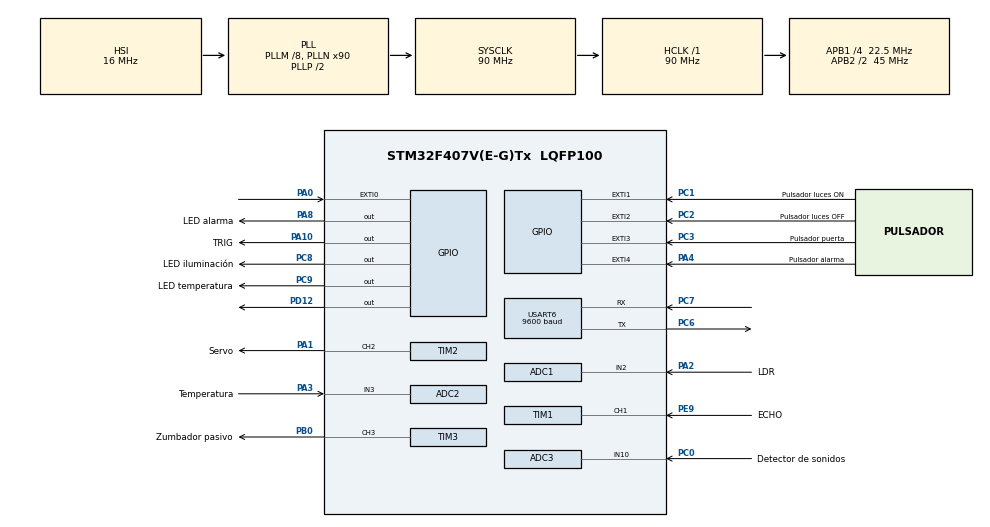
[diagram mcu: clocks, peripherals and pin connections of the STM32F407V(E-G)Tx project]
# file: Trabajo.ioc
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ADC1.Channel-0\#ChannelRegularConversion=ADC_CHANNEL_2
ADC1.NbrOfConversionFlag=1
ADC1.Rank-0\#ChannelRegularConversion=1
ADC1.Resolution=ADC_RESOLUTION_8B
ADC1.SamplingTime-0\#ChannelRegularConversion=ADC_SAMPLETIME_3CYCLES
ADC1.master=1
ADC2.Channel-0\#ChannelRegularConversion=ADC_CHANNEL_3
ADC2.NbrOfConversionFlag=1
ADC2.Rank-0\#ChannelRegularConversion=1
ADC2.Resolution=ADC_RESOLUTION_10B
ADC2.SamplingTime-0\#ChannelRegularConversion=ADC_SAMPLETIME_3CYCLES
ADC3.Channel-0\#ChannelRegularConversion=ADC_CHANNEL_10
ADC3.NbrOfConversionFlag=1
ADC3.Rank-0\#ChannelRegularConversion=1
ADC3.Resolution=ADC_RESOLUTION_10B
ADC3.SamplingTime-0\#ChannelRegularConversion=ADC_SAMPLETIME_3CYCLES
Mcu.Family=STM32F4
Mcu.Name=STM32F407V(E-G)Tx
Mcu.Package=LQFP100
NVIC.EXTI0_IRQn=true\:0\:0\:false\:false\:true\:true\:true
NVIC.EXTI1_IRQn=true\:0\:0\:false\:false\:true\:true\:true
NVIC.EXTI2_IRQn=true\:0\:0\:false\:false\:true\:true\:true
NVIC.EXTI3_IRQn=true\:0\:0\:false\:false\:true\:true\:true
NVIC.EXTI4_IRQn=true\:0\:0\:false\:false\:true\:true\:true
NVIC.PriorityGroup=NVIC_PRIORITYGROUP_4
NVIC.TIM1_CC_IRQn=true\:0\:0\:false\:false\:true\:true\:true
NVIC.TIM2_IRQn=true\:0\:0\:false\:false\:true\:true\:true
NVIC.USART6_IRQn=true\:0\:0\:false\:false\:true\:true\:true
PA0-WKUP.Signal=GPXTI0
PA1.GPIO_Label=Servo
PA1.Signal=S_TIM2_CH2
PA10.GPIO_Label=TRIG
PA10.Signal=GPIO_Output
PA2.GPIO_Label=LDR
PA2.Signal=ADCx_IN2
PA3.GPIO_Label=Temperatura
PA3.Signal=ADCx_IN3
PA4.GPIO_Label=Pulsador alarma
PA4.Signal=GPXTI4
PA8.GPIO_Label=LED alarma
PA8.Signal=GPIO_Output
PB0.GPIO_Label=Zumbador pasivo
PB0.Signal=S_TIM3_CH3
PC0.GPIO_Label=Detector de sonidos
PC0.Signal=ADCx_IN10
PC1.GPIO_Label=Pulsador luces ON
PC1.Signal=GPXTI1
PC14-OSC32_IN.Mode=LSE-External-Oscillator
PC14-OSC32_IN.Signal=RCC_OSC32_IN
PC15-OSC32_OUT.Mode=LSE-External-Oscillator
PC15-OSC32_OUT.Signal=RCC_OSC32_OUT
PC2.GPIO_Label=Pulsador luces OFF
PC2.Signal=GPXTI2
PC3.GPIO_Label=Pulsador puerta
PC3.Signal=GPXTI3
PC6.Mode=Asynchronous
PC6.Signal=USART6_TX
PC7.Mode=Asynchronous
PC7.Signal=USART6_RX
PC8.GPIO_Label=LED iluminaci\u00F3n
PC8.Signal=GPIO_Output
PC9.GPIO_Label=LED temperatura
PC9.Signal=GPIO_Output
PD12.Signal=GPIO_Output
PE9.GPIO_Label=ECHO
PE9.Signal=S_TIM1_CH1
PH0-OSC_IN.Mode=HSE-External-Oscillator
PH0-OSC_IN.Signal=RCC_OSC_IN
PH1-OSC_OUT.Mode=HSE-External-Oscillator
PH1-OSC_OUT.Signal=RCC_OSC_OUT
ProjectManager.HeapSize=0x200
ProjectManager.StackSize=0x400
ProjectManager.TargetToolchain=STM32CubeIDE
RCC.48MHZClocksFreq_Value=25714285.714285713
RCC.AHBFreq_Value=90000000
RCC.APB1CLKDivider=RCC_HCLK_DIV4
RCC.APB1Freq_Value=22500000
RCC.APB1TimFreq_Value=45000000
RCC.APB2CLKDivider=RCC_HCLK_DIV2
RCC.APB2Freq_Value=45000000
RCC.APB2TimFreq_Value=90000000
RCC.CortexFreq_Value=90000000
RCC.HCLKFreq_Value=90000000
RCC.HSE_VALUE=8000000
RCC.HSI_VALUE=16000000
RCC.PLLM=8
RCC.PLLN=90
RCC.PLLQ=7
RCC.SYSCLKFreq_VALUE=90000000
RCC.SYSCLKSource=RCC_SYSCLKSOURCE_PLLCLK
RCC.VCOOutputFreq_Value=180000000
SH.ADCx_IN10.0=ADC3_IN10,IN10
SH.ADCx_IN2.0=ADC1_IN2,IN2
SH.ADCx_IN3.0=ADC2_IN3,IN3
SH.S_TIM1_CH1.0=TIM1_CH1,Input_Capture1_from_TI1
SH.S_TIM2_CH2.0=TIM2_CH2,PWM Generation2 CH2
SH.S_TIM3_CH3.0=TIM3_CH3,PWM Generation3 CH3
TIM1.Channel-Input_Capture1_from_TI1=TIM_CHANNEL_1
TIM1.Period=65535-1
TIM1.Prescaler=45-1
TIM2.Channel-PWM\ Generation2\ CH2=TIM_CHANNEL_2
TIM2.Period=1000-1
TIM2.Prescaler=900-1
TIM3.Channel-PWM\ Generation3\ CH3=TIM_CHANNEL_3
TIM3.Period=255-1
TIM3.Prescaler=692-1
USART6.BaudRate=9600
USART6.VirtualMode=VM_ASYNC
VP_TIM2_VS_ClockSourceINT.Mode=Internal
VP_TIM3_VS_ClockSourceINT.Mode=Internal
board=STM32F407G-DISC1

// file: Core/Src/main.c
/* USER CODE BEGIN Header */
/**
  ******************************************************************************
  * @file           : main.c
  * @brief          : Main program body
  ******************************************************************************
  * @attention
  *
  * Copyright (c) 2021 STMicroelectronics.
  * All rights reserved.
  *
  * This software is licensed under terms that can be found in the LICENSE file
  * in the root directory of this software component.
  * If no LICENSE file comes with this software, it is provided AS-IS.
  *
  ******************************************************************************
  */
/* USER CODE END Header */
#include "main.h"

/* USER CODE BEGIN Includes */

#include <math.h>

/* USER CODE END Includes */

ADC_HandleTypeDef hadc1;
ADC_HandleTypeDef hadc2;
ADC_HandleTypeDef hadc3;

TIM_HandleTypeDef htim1;
TIM_HandleTypeDef htim2;
TIM_HandleTypeDef htim3;

UART_HandleTypeDef huart6;

/* USER CODE BEGIN PV */

// Pulsadores
volatile int pulsador_luces_ON = 0;
volatile int pulsador_luces_OFF = 0;
volatile int pulsador_puerta = 0;
volatile int pulsador_temp = 0;
volatile int pulsador_alarma = 0;

// Bluetooth
char readBuf[1];

// Iluminación
int encendidas = 0;
int luces_ON = 0;
int luces_OFF = 0;
uint32_t LDR_valor;
uint32_t iluminacion;

// Puerta
int abierta = 0;
int abriendo = 0;
int cerrando = 0;
uint32_t puerta_temp;

// Temperatura
uint32_t Temp_valor;
float temp = 0;
float temperatura_medida;
int medida_temp = 0;
int midiendo_temp = 0;
int no_midiendo_temp = 0;
uint32_t temperatura_temp;

// Alarma
float dist  = 0;
int alarma_ON = 0;
uint8_t frec_zumb = 400;
uint32_t alarma_temp;

uint32_t IC_Val1 = 0;
uint32_t IC_Val2 = 0;
uint32_t Difference = 0;
uint8_t Is_First_Captured = 0;  // is the first value captured ?
uint8_t Distance  = 0;

// Detector de sonidos
uint32_t Sonidos_valor;

// Zumbador pasivo
uint8_t valor = 0;

/* USER CODE END PV */

void SystemClock_Config(void);
static void MX_GPIO_Init(void);
static void MX_USART6_UART_Init(void);
static void MX_TIM2_Init(void);
static void MX_ADC1_Init(void);
static void MX_ADC2_Init(void);
static void MX_TIM1_Init(void);
static void MX_ADC3_Init(void);
static void MX_TIM3_Init(void);

/* USER CODE BEGIN 0 */

// Bluetooth
void HAL_UART_RxCpltCallback(UART_HandleTypeDef *huart)
{
	if(huart->Instance == huart6.Instance)
		HAL_UART_Receive_IT(&huart6, (uint8_t*)readBuf, 1);
}

// Pulsadores
void HAL_GPIO_EXTI_Callback(uint16_t GPIO_Pin)
{
	if(GPIO_Pin == GPIO_PIN_0) { // Temperatura
		pulsador_temp = 1;
	}

	if(GPIO_Pin == GPIO_PIN_1) { // Iluminación
		pulsador_luces_ON = 1;
	}

	if(GPIO_Pin == GPIO_PIN_2) { // Temperatura
		pulsador_luces_OFF = 1;
	}

	if(GPIO_Pin == GPIO_PIN_3) { // Puerta
		pulsador_puerta = 1;
	}

	if(GPIO_Pin == GPIO_PIN_4) { // Alarma
		pulsador_alarma = 1;
	}
}

// Debouncer
int debouncer(volatile int* button_int, GPIO_TypeDef* GPIO_port, uint16_t GPIO_number)
{
	static uint8_t cuenta_boton=0;
	static int cuenta=0;

	if (*button_int==1){
		if (cuenta_boton==0) {
			cuenta=HAL_GetTick();
			cuenta_boton++;
		}
		if (HAL_GetTick()-cuenta>=20){
			cuenta=HAL_GetTick();
			if (HAL_GPIO_ReadPin(GPIO_port, GPIO_number)!=1){
				cuenta_boton=1;
			}
			else{
				cuenta_boton++;
			}
			if (cuenta_boton==2){ //Periodo antirebotes
				cuenta_boton=0;
				*button_int=0;
				return 1;
			}
		}

	}
	return 0;
}

int debouncer2(volatile int* button_int, GPIO_TypeDef* GPIO_port, uint16_t GPIO_number){
	static uint8_t cuenta_boton=0;
	static int cuenta=0;

	if (*button_int==1){
		if (cuenta_boton==0) {
			cuenta=HAL_GetTick();
			cuenta_boton++;
		}
		if (HAL_GetTick()-cuenta>=20){
			cuenta=HAL_GetTick();
			if (HAL_GPIO_ReadPin(GPIO_port, GPIO_number)!=1){
				cuenta_boton=1;
			}
			else{
				cuenta_boton++;
			}
			if (cuenta_boton==2){ //Periodo antirebotes
				cuenta_boton=0;
				*button_int=0;
				return 1;
			}
		}

	}
	return 0;
}

// Servomotor SG90
void moverServo(TIM_HandleTypeDef* htim, int grados)
{
	const int MAX = 20; // Max valor de frecuencia son 20ms -> 1/50Hz
	float ms = grados/90.0f + 0.5f; // De los valores min y max del servo (0.5ms son 0º, 2.5ms son 180º) -> Ecuacion recta
	float duty = ms/(float)MAX; // Porcentaje del ciclo encendido
	uint32_t CCR = htim->Instance->ARR * duty; // El valor del CCR es ARR * duty, el ARR es del propio htim
	htim->Instance->CCR2 = CCR; // Se asigna el CCR calculado al CCR2 del htim
}

// Ultrasonidos HC-SR04
float calcularDistancia(uint64_t time)
{
	const float Vsonido = 340.0f; // Velocidad sonido = 340m/s
	float dist = (float)time * Vsonido / 2.0f / 10000.0f; // El 1/10000 es por el cambio de conversion de s a us y de m a cm
	return dist; // En cm
}
void delay (uint16_t time)
{
	__HAL_TIM_SET_COUNTER(&htim1, 0);
	while (__HAL_TIM_GET_COUNTER (&htim1) < time);
}
void leerUltrasonido(void)
{
	HAL_GPIO_WritePin(GPIOA, GPIO_PIN_10, 1); // Activar TRIG
	delay(10); // Esperar 10 us = 0.01 ms
	HAL_GPIO_WritePin(GPIOA, GPIO_PIN_10, 0); // Desactivar TRIG
	__HAL_TIM_ENABLE_IT(&htim1, TIM_IT_CC1);
}

void HAL_TIM_IC_CaptureCallback(TIM_HandleTypeDef *htim)
{
	if (htim->Channel == HAL_TIM_ACTIVE_CHANNEL_1)  // if the interrupt source is channel1
	{
		if (Is_First_Captured==0) // if the first value is not captured
		{
			IC_Val1 = HAL_TIM_ReadCapturedValue(htim, TIM_CHANNEL_1); // read the first value
			Is_First_Captured = 1;  // set the first captured as true
			// Now change the polarity to falling edge
			__HAL_TIM_SET_CAPTUREPOLARITY(htim, TIM_CHANNEL_1, TIM_INPUTCHANNELPOLARITY_FALLING);
		}

		else if (Is_First_Captured==1)   // if the first is already captured
		{
			IC_Val2 = HAL_TIM_ReadCapturedValue(htim, TIM_CHANNEL_1);  // read second value
			__HAL_TIM_SET_COUNTER(htim, 0);  // reset the counter

			if (IC_Val2 > IC_Val1)
			{
				Difference = IC_Val2-IC_Val1;
			}

			else if (IC_Val1 > IC_Val2)
			{
				Difference = (0xffff - IC_Val1) + IC_Val2;
			}

			Distance = Difference * .034/2;
			//Distance = Difference;
			Is_First_Captured = 0; // set it back to false

			// set polarity to rising edge
			__HAL_TIM_SET_CAPTUREPOLARITY(htim, TIM_CHANNEL_1, TIM_INPUTCHANNELPOLARITY_RISING);
			__HAL_TIM_DISABLE_IT(&htim1, TIM_IT_CC1);
		}
	}
}

// Sensor de temperatura
float medirTemperatura(void)
{
	HAL_ADC_Start(&hadc2);
	if (HAL_ADC_PollForConversion(&hadc2, 100) == HAL_OK)
	{
		Temp_valor = HAL_ADC_GetValue(&hadc2);
	}
	HAL_ADC_Stop(&hadc2);

	uint32_t R_NTC = 10000.0 / (1023.0 / Temp_valor - 1.0);
	temp = 1.0 / ((1.0 / (25 + 273.15)) + (1.0 / 3950.0) * (log(R_NTC / 10000.0))) - 273.15;

	return temp;
}

// Sensor LDR
uint32_t medirLDR(void)
{
	HAL_ADC_Start(&hadc1);
	if(HAL_ADC_PollForConversion(&hadc1, 100) == HAL_OK) {
		LDR_valor = HAL_ADC_GetValue(&hadc1);
	}
	HAL_ADC_Stop(&hadc1);

	return LDR_valor;
}

// Control de la iluminación
void luces(void)
{
	iluminacion = medirLDR();

	if(encendidas == 0 && (iluminacion <= 60 || readBuf[0] == 'A' || debouncer2(&pulsador_luces_ON, GPIOC, GPIO_PIN_1) == 1)) // Si hay poca luminosidad, o si se usa Bluetooth o si se pulsa el botón
	{
		luces_ON = 1; // Activación del flag para encender

		readBuf[0] = 0; // Reinicio del Bluetooth
		pulsador_luces_ON = 0; // Reinicio del pulsador
	}

	if(encendidas == 1 && (iluminacion > 80 || readBuf[0] == 'A' || debouncer2(&pulsador_luces_ON, GPIOC, GPIO_PIN_1) == 1)) // Si hay suficiente luminosidad, o si se usa Bluetooth o si se pulsa el botón
	{
		luces_OFF = 1; // Activación del flag para apagar

		readBuf[0] = 0; // Reinicio del Bluetooth
		pulsador_luces_ON = 0; // Reinicio del pulsador
	}

	if(encendidas == 0 && luces_ON == 1) // Si están apagadas y activado el flag para encender, se encienden
	{
		encendidas = 1; // Encendidas
		luces_ON = 0; // Desactivación del flag para encender
	}

	if(encendidas == 1 && luces_OFF == 1) // Si están encendidas y activado el flag para apagar, se apagan
	{
		encendidas = 0; // Apagadas
		luces_OFF = 0; // Desactivación del flag para apagar
	}

	HAL_GPIO_WritePin(GPIOC, GPIO_PIN_8, encendidas); // LED encendido cuando se encienden las luces
}

// Control de la puerta
void puerta(void)
{
	if(readBuf[0] == 'C' || debouncer2(&pulsador_puerta, GPIOC, GPIO_PIN_3)) // Si se usa Bluetooth o si se pulsa el botón
	{
		 if(abierta == 0) // Si la puerta está cerrada
		 {
			 abriendo = 1; // Activación del flag para abrir puerta
		 }

		 else // Si la puerta está abierta
		 {
			 cerrando = 1; // Activación del flag para cerrar puerta
			 puerta_temp = 0; // Reinicio del tiempo de la puerta abierta
		 }

		 readBuf[0] = 0; // Reinicio del Bluetooth
		 pulsador_puerta = 0; // Reinicio del pulsador
	}

	if(abierta == 0 && abriendo == 1) // Si la puerta está cerrada y activado el flag para abrir la puerta, se abre
	{
		moverServo(&htim2, 90); // Se abre la puerta
		abierta = 1; // Puerta ya abierta
		abriendo = 0; // Desactivación del flag para abrir puerta
		puerta_temp = HAL_GetTick(); // Se coge el tiempo actual
	}

	if(abierta == 1 && cerrando == 0 && (HAL_GetTick() - puerta_temp) > 5000) // Si la puerta está abierta, desactivado el flag para cerrar la puerta y han pasado 5s, se cierra
	{
		cerrando = 1; // Activación del flag para cerrar puerta
		puerta_temp = 0; // Reinicio del tiempo de la puerta abierta
	}

	if(abierta == 1 && cerrando == 1) // Si la puerta está abierta y activado el flag para cerrar la puerta, se cierra
	{
		moverServo(&htim2, 0); // Se cierra la puerta
		abierta = 0; // Puerta ya cerrada
		cerrando = 0; // Desactivación del flag para cerrar puerta
		puerta_temp = 0; // Reinicio del tiempo de la puerta abierta
	}
}

// Control de la temperatura
void temperatura(void)
{
	if(readBuf[0] == 'D' || debouncer2(&pulsador_luces_OFF, GPIOC, GPIO_PIN_2) == 1) // Si se usa Bluetooth o si se pulsa el botón
	{
		 if(medida_temp == 0) // Si no se está midiendo
		 {
			 midiendo_temp = 1; // Activación del flag para medir
		 }

		 else // Si se está midiendo
		 {
			 no_midiendo_temp = 1; // Activación del flag para no medir
			 temperatura_temp = 0; // Reinicio del tiempo de la medición
		 }

		 readBuf[0] = 0; // Reinicio del Bluetooth
		 pulsador_temp = 0; // Reinicio del pulsador
	}

	if(medida_temp == 0 && midiendo_temp == 1) // Si no se está midiendo y activado el flag para medir, se mide
	{
		temperatura_medida = medirTemperatura(); // Se mide la temperatura

		medida_temp = 1; // Midiendo
		midiendo_temp = 0; // Desactivación del flag para medir
		temperatura_temp = HAL_GetTick(); // Se coge el tiempo actual
	}

	if(medida_temp == 1 && no_midiendo_temp == 0 && (HAL_GetTick() - temperatura_temp) > 10000) // Si está midiendo, desactivado el flag para no medir y han pasado 10s, no mide
	{
		no_midiendo_temp = 1; // Activación del flag para no medir
		temperatura_temp = 0; // Reinicio del tiempo de la medición
	}

	if(medida_temp == 1 && no_midiendo_temp == 1) // Si está midiendo y activado el flag para no medir, no mide
	{
		medida_temp = 0; // No midiendo
		no_midiendo_temp = 0; // Desactivación del flag para no medir
		temperatura_temp = 0; // Reinicio del tiempo de la medición
		temperatura_medida = 0;
	}

	HAL_GPIO_WritePin(GPIOC, GPIO_PIN_9, medida_temp); // LED encendido cuando se mide temperatura
}

// Control de la alarma
void alarma(void)
{
	leerUltrasonido(); // Leer Ultrasonido conectado a pin A10
	HAL_Delay(100); // Espera para volver a disparar, NO menor a 100ms !!!

	if(Distance < 20) // Si la distancia al sensor es menor de 10cm
	{
		alarma_ON = 1; // Activación de la alarma
		alarma_temp = HAL_GetTick(); // Se coge el tiempo actual
		htim3.Instance->CCR3 = frec_zumb; // Se enciende la alarma
	}

	if(alarma_ON == 1) // Si está activada la alarma
	{
		if(readBuf[0] == 'E' || debouncer2(&pulsador_alarma, GPIOA, GPIO_PIN_4) || HAL_GetTick() - alarma_temp > 5000) // Si se usa Bluetooth, o si se pulsa el botón o han pasado 5s, se desactiva
		{
			alarma_ON = 0; // Desactivación de la alarma
			htim3.Instance->CCR3 = 0; // Se apaga la alarma
			alarma_temp = 0; // Reinicio del tiempo de la alarma
			readBuf[0] = 0; // Reinicio del Bluetooth
			pulsador_alarma = 0; // Reinicio del pulsador
		}
	}

	HAL_GPIO_WritePin(GPIOA, GPIO_PIN_8, alarma_ON); // LED encendido cuando suena la alarma
}

/* USER CODE END 0 */

int main(void)
{

  /* MCU Configuration--------------------------------------------------------*/

  /* Reset of all peripherals, Initializes the Flash interface and the Systick. */
  HAL_Init();

  /* Configure the system clock */
  SystemClock_Config();

  /* Initialize all configured peripherals */
  MX_GPIO_Init();
  MX_USART6_UART_Init();
  MX_TIM2_Init();
  MX_ADC1_Init();
  MX_ADC2_Init();
  MX_TIM1_Init();
  MX_ADC3_Init();
  MX_TIM3_Init();
  /* USER CODE BEGIN 2 */

  HAL_UART_Receive_IT(&huart6, (uint8_t*)readBuf, 1);
  HAL_TIM_IC_Start_IT(&htim1, TIM_CHANNEL_1);
  HAL_TIM_PWM_Start(&htim2, TIM_CHANNEL_2);
  HAL_TIM_PWM_Start(&htim3, TIM_CHANNEL_3);

  /* USER CODE END 2 */

  /* Infinite loop */
  while (1)
  {

    /* USER CODE BEGIN 3 */

	  puerta(); // Control puerta
	  luces(); // Control iluminación
	  temperatura(); // Control temperatura
	  alarma(); // Control alarma

	  /*
	  // Ejemplo del detector de sonidos
	  HAL_ADC_Start(&hadc3);
	  if (HAL_ADC_PollForConversion(&hadc3, 100) == HAL_OK)
	  {
		  Sonidos_valor = HAL_ADC_GetValue(&hadc3);
	  }
	  HAL_ADC_Stop(&hadc3);

	  // Ejemplo zumbador pasivo
	  while(valor < 255)
	  {
		  htim2.Instance->CCR3 = valor;
		  valor += 20;
		  HAL_Delay(1000);
	  }

	  valor = 0;
	  */

  }
  /* USER CODE END 3 */
}

void SystemClock_Config(void)
{
  RCC_OscInitTypeDef RCC_OscInitStruct = {0};
  RCC_ClkInitTypeDef RCC_ClkInitStruct = {0};

  /** Configure the main internal regulator output voltage
  */
  __HAL_RCC_PWR_CLK_ENABLE();
  __HAL_PWR_VOLTAGESCALING_CONFIG(PWR_REGULATOR_VOLTAGE_SCALE1);
  /** Initializes the RCC Oscillators according to the specified parameters
  * in the RCC_OscInitTypeDef structure.
  */
  RCC_OscInitStruct.OscillatorType = RCC_OSCILLATORTYPE_HSI;
  RCC_OscInitStruct.HSIState = RCC_HSI_ON;
  RCC_OscInitStruct.HSICalibrationValue = RCC_HSICALIBRATION_DEFAULT;
  RCC_OscInitStruct.PLL.PLLState = RCC_PLL_ON;
  RCC_OscInitStruct.PLL.PLLSource = RCC_PLLSOURCE_HSI;
  RCC_OscInitStruct.PLL.PLLM = 8;
  RCC_OscInitStruct.PLL.PLLN = 90;
  RCC_OscInitStruct.PLL.PLLP = RCC_PLLP_DIV2;
  RCC_OscInitStruct.PLL.PLLQ = 7;
  if (HAL_RCC_OscConfig(&RCC_OscInitStruct) != HAL_OK)
  {
    Error_Handler();
  }
  /** Initializes the CPU, AHB and APB buses clocks
  */
  RCC_ClkInitStruct.ClockType = RCC_CLOCKTYPE_HCLK|RCC_CLOCKTYPE_SYSCLK
                              |RCC_CLOCKTYPE_PCLK1|RCC_CLOCKTYPE_PCLK2;
  RCC_ClkInitStruct.SYSCLKSource = RCC_SYSCLKSOURCE_PLLCLK;
  RCC_ClkInitStruct.AHBCLKDivider = RCC_SYSCLK_DIV1;
  RCC_ClkInitStruct.APB1CLKDivider = RCC_HCLK_DIV4;
  RCC_ClkInitStruct.APB2CLKDivider = RCC_HCLK_DIV2;

  if (HAL_RCC_ClockConfig(&RCC_ClkInitStruct, FLASH_LATENCY_2) != HAL_OK)
  {
    Error_Handler();
  }
}

static void MX_ADC1_Init(void)
{

  ADC_ChannelConfTypeDef sConfig = {0};

  /** Configure the global features of the ADC (Clock, Resolution, Data Alignment and number of conversion)
  */
  hadc1.Instance = ADC1;
  hadc1.Init.ClockPrescaler = ADC_CLOCK_SYNC_PCLK_DIV2;
  hadc1.Init.Resolution = ADC_RESOLUTION_8B;
  hadc1.Init.ScanConvMode = DISABLE;
  hadc1.Init.ContinuousConvMode = DISABLE;
  hadc1.Init.DiscontinuousConvMode = DISABLE;
  hadc1.Init.ExternalTrigConvEdge = ADC_EXTERNALTRIGCONVEDGE_NONE;
  hadc1.Init.ExternalTrigConv = ADC_SOFTWARE_START;
  hadc1.Init.DataAlign = ADC_DATAALIGN_RIGHT;
  hadc1.Init.NbrOfConversion = 1;
  hadc1.Init.DMAContinuousRequests = DISABLE;
  hadc1.Init.EOCSelection = ADC_EOC_SINGLE_CONV;
  if (HAL_ADC_Init(&hadc1) != HAL_OK)
  {
    Error_Handler();
  }
  /** Configure for the selected ADC regular channel its corresponding rank in the sequencer and its sample time.
  */
  sConfig.Channel = ADC_CHANNEL_2;
  sConfig.Rank = 1;
  sConfig.SamplingTime = ADC_SAMPLETIME_3CYCLES;
  if (HAL_ADC_ConfigChannel(&hadc1, &sConfig) != HAL_OK)
  {
    Error_Handler();
  }

}

static void MX_ADC2_Init(void)
{

  ADC_ChannelConfTypeDef sConfig = {0};

  /** Configure the global features of the ADC (Clock, Resolution, Data Alignment and number of conversion)
  */
  hadc2.Instance = ADC2;
  hadc2.Init.ClockPrescaler = ADC_CLOCK_SYNC_PCLK_DIV2;
  hadc2.Init.Resolution = ADC_RESOLUTION_10B;
  hadc2.Init.ScanConvMode = DISABLE;
  hadc2.Init.ContinuousConvMode = DISABLE;
  hadc2.Init.DiscontinuousConvMode = DISABLE;
  hadc2.Init.ExternalTrigConvEdge = ADC_EXTERNALTRIGCONVEDGE_NONE;
  hadc2.Init.ExternalTrigConv = ADC_SOFTWARE_START;
  hadc2.Init.DataAlign = ADC_DATAALIGN_RIGHT;
  hadc2.Init.NbrOfConversion = 1;
  hadc2.Init.DMAContinuousRequests = DISABLE;
  hadc2.Init.EOCSelection = ADC_EOC_SINGLE_CONV;
  if (HAL_ADC_Init(&hadc2) != HAL_OK)
  {
    Error_Handler();
  }
  /** Configure for the selected ADC regular channel its corresponding rank in the sequencer and its sample time.
  */
  sConfig.Channel = ADC_CHANNEL_3;
  sConfig.Rank = 1;
  sConfig.SamplingTime = ADC_SAMPLETIME_3CYCLES;
  if (HAL_ADC_ConfigChannel(&hadc2, &sConfig) != HAL_OK)
  {
    Error_Handler();
  }

}

static void MX_ADC3_Init(void)
{

  ADC_ChannelConfTypeDef sConfig = {0};

  /** Configure the global features of the ADC (Clock, Resolution, Data Alignment and number of conversion)
  */
  hadc3.Instance = ADC3;
  hadc3.Init.ClockPrescaler = ADC_CLOCK_SYNC_PCLK_DIV2;
  hadc3.Init.Resolution = ADC_RESOLUTION_10B;
  hadc3.Init.ScanConvMode = DISABLE;
  hadc3.Init.ContinuousConvMode = DISABLE;
  hadc3.Init.DiscontinuousConvMode = DISABLE;
  hadc3.Init.ExternalTrigConvEdge = ADC_EXTERNALTRIGCONVEDGE_NONE;
  hadc3.Init.ExternalTrigConv = ADC_SOFTWARE_START;
  hadc3.Init.DataAlign = ADC_DATAALIGN_RIGHT;
  hadc3.Init.NbrOfConversion = 1;
  hadc3.Init.DMAContinuousRequests = DISABLE;
  hadc3.Init.EOCSelection = ADC_EOC_SINGLE_CONV;
  if (HAL_ADC_Init(&hadc3) != HAL_OK)
  {
    Error_Handler();
  }
  /** Configure for the selected ADC regular channel its corresponding rank in the sequencer and its sample time.
  */
  sConfig.Channel = ADC_CHANNEL_10;
  sConfig.Rank = 1;
  sConfig.SamplingTime = ADC_SAMPLETIME_3CYCLES;
  if (HAL_ADC_ConfigChannel(&hadc3, &sConfig) != HAL_OK)
  {
    Error_Handler();
  }

}

static void MX_TIM1_Init(void)
{

  TIM_MasterConfigTypeDef sMasterConfig = {0};
  TIM_IC_InitTypeDef sConfigIC = {0};

  htim1.Instance = TIM1;
  htim1.Init.Prescaler = 45-1;
  htim1.Init.CounterMode = TIM_COUNTERMODE_UP;
  htim1.Init.Period = 65535-1;
  htim1.Init.ClockDivision = TIM_CLOCKDIVISION_DIV1;
  htim1.Init.RepetitionCounter = 0;
  htim1.Init.AutoReloadPreload = TIM_AUTORELOAD_PRELOAD_DISABLE;
  if (HAL_TIM_IC_Init(&htim1) != HAL_OK)
  {
    Error_Handler();
  }
  sMasterConfig.MasterOutputTrigger = TIM_TRGO_RESET;
  sMasterConfig.MasterSlaveMode = TIM_MASTERSLAVEMODE_DISABLE;
  if (HAL_TIMEx_MasterConfigSynchronization(&htim1, &sMasterConfig) != HAL_OK)
  {
    Error_Handler();
  }
  sConfigIC.ICPolarity = TIM_INPUTCHANNELPOLARITY_RISING;
  sConfigIC.ICSelection = TIM_ICSELECTION_DIRECTTI;
  sConfigIC.ICPrescaler = TIM_ICPSC_DIV1;
  sConfigIC.ICFilter = 0;
  if (HAL_TIM_IC_ConfigChannel(&htim1, &sConfigIC, TIM_CHANNEL_1) != HAL_OK)
  {
    Error_Handler();
  }

}

static void MX_TIM2_Init(void)
{

  TIM_ClockConfigTypeDef sClockSourceConfig = {0};
  TIM_MasterConfigTypeDef sMasterConfig = {0};
  TIM_OC_InitTypeDef sConfigOC = {0};

  htim2.Instance = TIM2;
  htim2.Init.Prescaler = 900-1;
  htim2.Init.CounterMode = TIM_COUNTERMODE_UP;
  htim2.Init.Period = 1000-1;
  htim2.Init.ClockDivision = TIM_CLOCKDIVISION_DIV1;
  htim2.Init.AutoReloadPreload = TIM_AUTORELOAD_PRELOAD_DISABLE;
  if (HAL_TIM_Base_Init(&htim2) != HAL_OK)
  {
    Error_Handler();
  }
  sClockSourceConfig.ClockSource = TIM_CLOCKSOURCE_INTERNAL;
  if (HAL_TIM_ConfigClockSource(&htim2, &sClockSourceConfig) != HAL_OK)
  {
    Error_Handler();
  }
  if (HAL_TIM_PWM_Init(&htim2) != HAL_OK)
  {
    Error_Handler();
  }
  sMasterConfig.MasterOutputTrigger = TIM_TRGO_RESET;
  sMasterConfig.MasterSlaveMode = TIM_MASTERSLAVEMODE_DISABLE;
  if (HAL_TIMEx_MasterConfigSynchronization(&htim2, &sMasterConfig) != HAL_OK)
  {
    Error_Handler();
  }
  sConfigOC.OCMode = TIM_OCMODE_PWM1;
  sConfigOC.Pulse = 0;
  sConfigOC.OCPolarity = TIM_OCPOLARITY_HIGH;
  sConfigOC.OCFastMode = TIM_OCFAST_DISABLE;
  if (HAL_TIM_PWM_ConfigChannel(&htim2, &sConfigOC, TIM_CHANNEL_2) != HAL_OK)
  {
    Error_Handler();
  }
  HAL_TIM_MspPostInit(&htim2);

}

static void MX_TIM3_Init(void)
{

  TIM_ClockConfigTypeDef sClockSourceConfig = {0};
  TIM_MasterConfigTypeDef sMasterConfig = {0};
  TIM_OC_InitTypeDef sConfigOC = {0};

  htim3.Instance = TIM3;
  htim3.Init.Prescaler = 692-1;
  htim3.Init.CounterMode = TIM_COUNTERMODE_UP;
  htim3.Init.Period = 255-1;
  htim3.Init.ClockDivision = TIM_CLOCKDIVISION_DIV1;
  htim3.Init.AutoReloadPreload = TIM_AUTORELOAD_PRELOAD_DISABLE;
  if (HAL_TIM_Base_Init(&htim3) != HAL_OK)
  {
    Error_Handler();
  }
  sClockSourceConfig.ClockSource = TIM_CLOCKSOURCE_INTERNAL;
  if (HAL_TIM_ConfigClockSource(&htim3, &sClockSourceConfig) != HAL_OK)
  {
    Error_Handler();
  }
  if (HAL_TIM_PWM_Init(&htim3) != HAL_OK)
  {
    Error_Handler();
  }
  sMasterConfig.MasterOutputTrigger = TIM_TRGO_RESET;
  sMasterConfig.MasterSlaveMode = TIM_MASTERSLAVEMODE_DISABLE;
  if (HAL_TIMEx_MasterConfigSynchronization(&htim3, &sMasterConfig) != HAL_OK)
  {
    Error_Handler();
  }
  sConfigOC.OCMode = TIM_OCMODE_PWM1;
  sConfigOC.Pulse = 0;
  sConfigOC.OCPolarity = TIM_OCPOLARITY_HIGH;
  sConfigOC.OCFastMode = TIM_OCFAST_DISABLE;
  if (HAL_TIM_PWM_ConfigChannel(&htim3, &sConfigOC, TIM_CHANNEL_3) != HAL_OK)
  {
    Error_Handler();
  }
  HAL_TIM_MspPostInit(&htim3);

}

static void MX_USART6_UART_Init(void)
{

  huart6.Instance = USART6;
  huart6.Init.BaudRate = 9600;
  huart6.Init.WordLength = UART_WORDLENGTH_8B;
  huart6.Init.StopBits = UART_STOPBITS_1;
  huart6.Init.Parity = UART_PARITY_NONE;
  huart6.Init.Mode = UART_MODE_TX_RX;
  huart6.Init.HwFlowCtl = UART_HWCONTROL_NONE;
  huart6.Init.OverSampling = UART_OVERSAMPLING_16;
  if (HAL_UART_Init(&huart6) != HAL_OK)
  {
    Error_Handler();
  }

}

static void MX_GPIO_Init(void)
{
  GPIO_InitTypeDef GPIO_InitStruct = {0};

  /* GPIO Ports Clock Enable */
  __HAL_RCC_GPIOC_CLK_ENABLE();
  __HAL_RCC_GPIOH_CLK_ENABLE();
  __HAL_RCC_GPIOA_CLK_ENABLE();
  __HAL_RCC_GPIOB_CLK_ENABLE();
  __HAL_RCC_GPIOE_CLK_ENABLE();
  __HAL_RCC_GPIOD_CLK_ENABLE();

  /*Configure GPIO pin Output Level */
  HAL_GPIO_WritePin(GPIOD, GPIO_PIN_12, GPIO_PIN_RESET);

  /*Configure GPIO pin Output Level */
  HAL_GPIO_WritePin(GPIOC, LED_iluminaci_n_Pin|LED_temperatura_Pin, GPIO_PIN_RESET);

  /*Configure GPIO pin Output Level */
  HAL_GPIO_WritePin(GPIOA, LED_alarma_Pin|TRIG_Pin, GPIO_PIN_RESET);

  /*Configure GPIO pins : Pulsador_luces_ON_Pin Pulsador_luces_OFF_Pin Pulsador_puerta_Pin */
  GPIO_InitStruct.Pin = Pulsador_luces_ON_Pin|Pulsador_luces_OFF_Pin|Pulsador_puerta_Pin;
  GPIO_InitStruct.Mode = GPIO_MODE_IT_RISING;
  GPIO_InitStruct.Pull = GPIO_NOPULL;
  HAL_GPIO_Init(GPIOC, &GPIO_InitStruct);

  /*Configure GPIO pins : PA0 Pulsador_alarma_Pin */
  GPIO_InitStruct.Pin = GPIO_PIN_0|Pulsador_alarma_Pin;
  GPIO_InitStruct.Mode = GPIO_MODE_IT_RISING;
  GPIO_InitStruct.Pull = GPIO_NOPULL;
  HAL_GPIO_Init(GPIOA, &GPIO_InitStruct);

  /*Configure GPIO pin : PD12 */
  GPIO_InitStruct.Pin = GPIO_PIN_12;
  GPIO_InitStruct.Mode = GPIO_MODE_OUTPUT_PP;
  GPIO_InitStruct.Pull = GPIO_NOPULL;
  GPIO_InitStruct.Speed = GPIO_SPEED_FREQ_LOW;
  HAL_GPIO_Init(GPIOD, &GPIO_InitStruct);

  /*Configure GPIO pins : LED_iluminaci_n_Pin LED_temperatura_Pin */
  GPIO_InitStruct.Pin = LED_iluminaci_n_Pin|LED_temperatura_Pin;
  GPIO_InitStruct.Mode = GPIO_MODE_OUTPUT_PP;
  GPIO_InitStruct.Pull = GPIO_NOPULL;
  GPIO_InitStruct.Speed = GPIO_SPEED_FREQ_LOW;
  HAL_GPIO_Init(GPIOC, &GPIO_InitStruct);

  /*Configure GPIO pins : LED_alarma_Pin TRIG_Pin */
  GPIO_InitStruct.Pin = LED_alarma_Pin|TRIG_Pin;
  GPIO_InitStruct.Mode = GPIO_MODE_OUTPUT_PP;
  GPIO_InitStruct.Pull = GPIO_NOPULL;
  GPIO_InitStruct.Speed = GPIO_SPEED_FREQ_LOW;
  HAL_GPIO_Init(GPIOA, &GPIO_InitStruct);

  /* EXTI interrupt init*/
  HAL_NVIC_SetPriority(EXTI0_IRQn, 0, 0);
  HAL_NVIC_EnableIRQ(EXTI0_IRQn);

  HAL_NVIC_SetPriority(EXTI1_IRQn, 0, 0);
  HAL_NVIC_EnableIRQ(EXTI1_IRQn);

  HAL_NVIC_SetPriority(EXTI2_IRQn, 0, 0);
  HAL_NVIC_EnableIRQ(EXTI2_IRQn);

  HAL_NVIC_SetPriority(EXTI3_IRQn, 0, 0);
  HAL_NVIC_EnableIRQ(EXTI3_IRQn);

  HAL_NVIC_SetPriority(EXTI4_IRQn, 0, 0);
  HAL_NVIC_EnableIRQ(EXTI4_IRQn);

}

void Error_Handler(void)
{
  __disable_irq();
  while (1)
  {
  }
}
